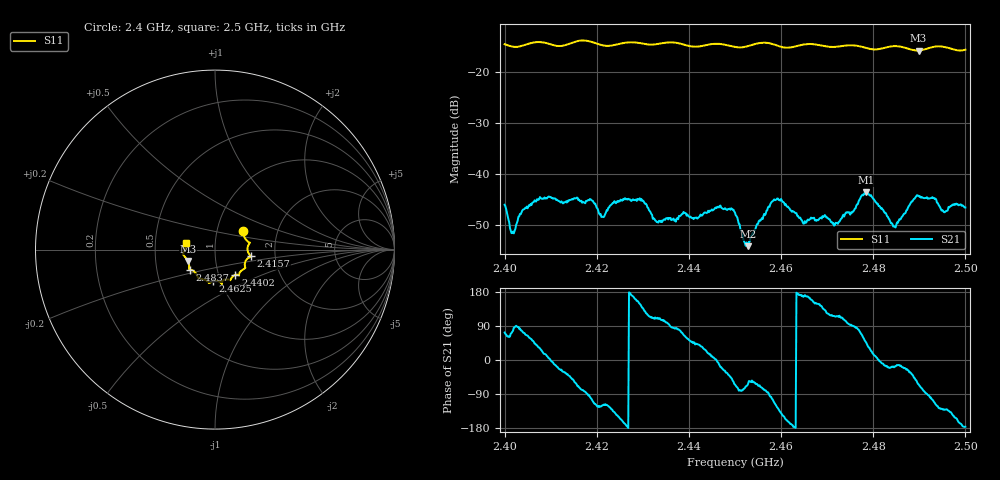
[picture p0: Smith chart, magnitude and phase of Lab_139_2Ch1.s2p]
# Hz S RI R 50
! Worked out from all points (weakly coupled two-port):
!   601 points, 2.4 GHz to 2.5 GHz, reference 50 ohm
!   highest |S21| = -43.64 dB at 2.4785 GHz (marker M1); lowest = -54.2 dB at 2.4528 GHz (marker M2)
!   lowest |S11| = -15.7 dB at 2.4898 GHz (marker M3), VSWR 1.39, Z = 36.7 - j4.82 ohm
!   |S11| at or under -10 dB: start of sweep to end of sweep
!   S12 and S22 are empty: the file has one direction only
!   S11 on the Smith chart (normalised r, x): 2.4 GHz: 1.33, +0.29; 2.4157 GHz: 1.49, -0.11; 2.4402 GHz: 1.20, -0.35; 2.4625 GHz: 0.92, -0.34; 2.4837 GHz: 0.74, -0.17; 2.5 GHz: 0.72, +0.05
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2.4e9  0.1564 0.1058  0.00149 0.00475  0 0  0 0
2.401833e9  0.1604 0.0784  0.000578 0.00265  0 0  0 0
2.4075e9  0.1945 0.0385  0.00476 0.00306  0 0  0 0
2.415667e9  0.1987 -0.0365  0.00247 -0.0053  0 0  0 0
2.416667e9  0.2015 -0.0398  0.00114 -0.00532  0 0  0 0
2.421167e9  0.1764 -0.0551  -0.00189 -0.0033  0 0  0 0
2.429333e9  0.161 -0.1079  -0.00489 0.00303  0 0  0 0
2.433333e9  0.1354 -0.1337  -0.00105 0.00315  0 0  0 0
2.440167e9  0.1141 -0.1404  0.00234 0.00291  0 0  0 0
2.45e9  0.0641 -0.1657  0.00176 -0.00377  0 0  0 0
2.452833e9  0.041 -0.1762  0.000878 -0.00174  0 0  0 0
2.458333e9  0.0342 -0.1855  -0.00169 -0.00522  0 0  0 0
2.4625e9  -0.00994 -0.177  -0.00427 -0.000587  0 0  0 0
2.466667e9  -0.0335 -0.1865  -0.00339 0.00135  0 0  0 0
2.472e9  -0.068 -0.1649  -0.00142 0.00297  0 0  0 0
2.4785e9  -0.1018 -0.1402  0.00461 0.00468  0 0  0 0
2.483333e9  -0.1382 -0.112  0.00344 -0.00121  0 0  0 0
2.483667e9  -0.14 -0.1116  0.0032 -0.00119  0 0  0 0
2.484833e9  -0.1441 -0.1095  0.00285 -0.000862  0 0  0 0
2.489833e9  -0.1503 -0.064  0.00268 -0.00549  0 0  0 0
2.495333e9  -0.1768 -0.0195  -0.00272 -0.00321  0 0  0 0
2.5e9  -0.1627 0.0362  -0.00466 -0.000327  0 0  0 0
